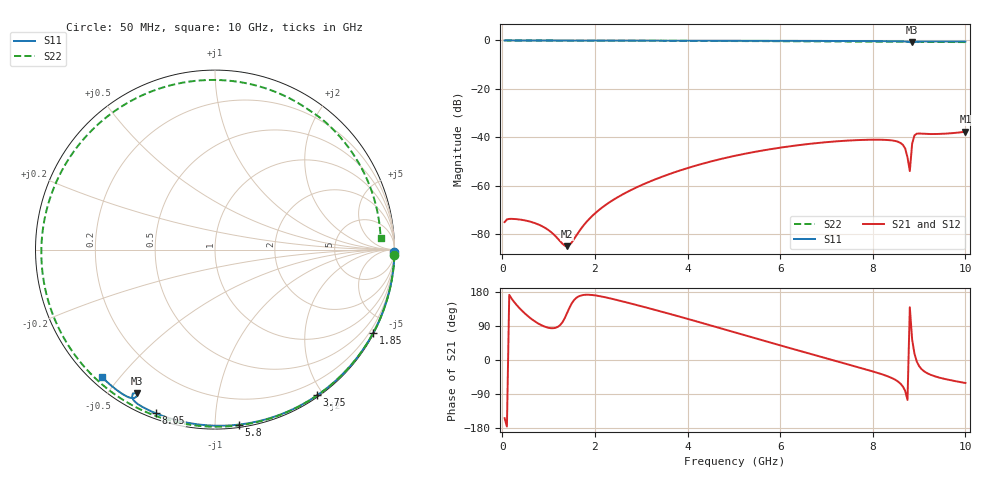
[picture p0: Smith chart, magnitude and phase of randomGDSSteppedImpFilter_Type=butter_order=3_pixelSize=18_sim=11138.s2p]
! freq	dB(S11)	phase(S11)	dB(S12)	phase(S12)
!  dB(S21)	phase(S21)	dB(S22)	phase(S22)
!S-par simulation data
#  GHz  S  DB  R 50
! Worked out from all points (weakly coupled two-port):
!   200 points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, 50 MHz to 10 GHz, reference 50 ohm
!   highest |S21| = -37.70 dB at 10 GHz (marker M1); lowest = -85.0 dB at 1.4 GHz (marker M2)
!   lowest |S11| = -0.8 dB at 8.85 GHz (marker M3), VSWR 21.36, Z = 3.16 - j29.6 ohm
!   |S11| at or under -10 dB: nowhere
!   |S22| runs from -0.7 to 0.0 dB; largest |S21 - S12| = 0
!   S11 on the Smith chart (normalised r, x): 50 MHz: open; 1.85 GHz: 0.04, -4.04; 3.75 GHz: 0.02, -1.92; 5.8 GHz: 0.02, -1.15; 8.05 GHz: 0.02, -0.70; 10 GHz: 0.03, -0.45
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0.05  -0.00 -0.8  -75.00 -153.6  -75.00 -153.6  -0.00 -1.7
0.5  -0.01 -7.6  -74.36 121.4  -74.36 121.4  -0.01 -16.6
1.1  -0.02 -16.7  -79.93 83.9  -79.93 83.9  -0.04 -36.2
1.4  -0.03 -21.1  -84.96 124.1  -84.96 124.1  -0.06 -45.8
1.6  -0.03 -24.1  -80.54 164.1  -80.54 164.1  -0.07 -52.2
1.75  -0.03 -26.3  -76.50 171.6  -76.50 171.6  -0.07 -57.0
1.85  -0.04 -27.8  -74.27 172.3  -74.27 172.3  -0.08 -60.2
2.45  -0.05 -36.6  -65.21 159.1  -65.21 159.1  -0.10 -79.0
3.4  -0.07 -50.1  -56.64 128.9  -56.64 128.9  -0.14 -108.1
3.75  -0.07 -55.0  -54.25 117.1  -54.25 117.1  -0.16 -118.8
5.05  -0.11 -72.5  -47.53 71.9  -47.53 71.9  -0.24 -159.3
5.8  -0.14 -82.2  -44.87 45.6  -44.87 45.6  -0.30 175.8
6.7  -0.18 -93.5  -42.57 14.5  -42.57 14.5  -0.38 143.3
7.45  -0.22 -102.6  -41.37 -11.1  -41.37 -11.1  -0.44 113.5
8.05  -0.27 -109.9  -40.98 -32.0  -40.98 -32.0  -0.49 88.0
8.35  -0.30 -113.6  -41.16 -44.4  -41.16 -44.4  -0.52 74.8
8.65  -0.37 -117.7  -43.11 -69.9  -43.11 -69.9  -0.54 61.6
8.7  -0.42 -118.5  -44.62 -81.5  -44.62 -81.5  -0.55 59.4
8.8  -0.70 -119.7  -53.97 139.3  -53.97 139.3  -0.56 55.1
8.85  -0.81 -118.7  -42.65 54.4  -42.65 54.4  -0.55 53.0
8.95  -0.53 -118.5  -38.51 -4.1  -38.51 -4.1  -0.54 48.5
10  -0.45 -131.7  -37.70 -60.7  -37.70 -60.7  -0.68 3.9
